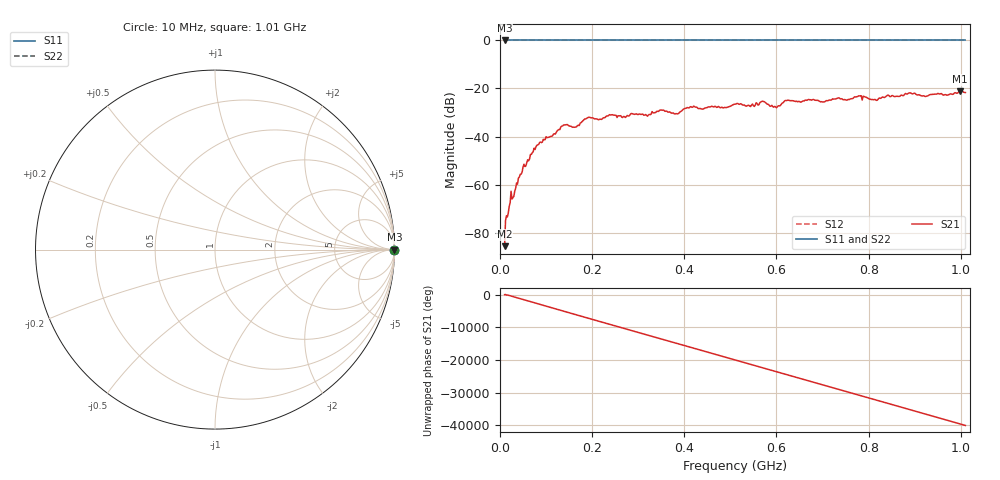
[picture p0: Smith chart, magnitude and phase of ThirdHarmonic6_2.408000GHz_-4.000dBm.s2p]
! 8/17/2025 4:01:05 AM
! C:\ANRITSUVNA\TEMP\TEMP.S2P
! CHANNEL.1
! TR.MEASUREMENT
! RAW.DATA
! RF.CORRECTION.OFF
! AVERAGING.OFF
! IF.BANDWIDTH: 5KHZ
! SWEEPTYPE:  FREQ.SWEEP(Linear)
! Reference Plane Port Info
! PORT:  PORT1  PORT2
! DISTANCE:  0  m  0  m
! TIME:  0  s  0  s
! PHASE.OFFSET:  0  deg.  0  deg.
! LOSS:  0  dB  0  dB
! REF.LOSS:  0  dB  0  dB
! REF.FREQ:  0  Hz  0  Hz
! Power Info
! POWER:  -20  dBm  -20  dBm
! EFF.POWER:  -20  dBm  -20  dBm
! SOURCE.ATTEN:  0  dB  0  dB
! TEST.ATTEN:  0  dB  0  dB
# GHZ S RI R 50.0
! FREQ.GHZ  S11RE  S11IM  S21RE  S21IM  S12RE  S12IM  S22RE  S22IM
!; PortSelection: Port_12
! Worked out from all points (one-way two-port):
!   501 points, 10 MHz to 1.01 GHz, reference 50 ohm
!   highest |S21| = -21.14 dB at 998 MHz (marker M1); lowest = -85.7 dB at 10 MHz (marker M2)
!   lowest |S11| = 0.0 dB at 10 MHz (marker M3)
!   |S11| at or under -10 dB: nowhere
!   |S22| runs from 0.0 to 0.0 dB; largest |S21 - S12| = 1.1
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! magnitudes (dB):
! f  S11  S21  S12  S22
! 10 MHz  0.0  -85.7  0.0  0.0
! 22 MHz  0.0  -67.6  0.0  0.0
! 40 MHz  0.0  -57.3  0.0  0.0
! 78 MHz  0.0  -44.3  0.0  0.0
! 136 MHz  0.0  -35.6  0.0  0.0
! 162 MHz  0.0  -36.2  0.0  0.0
! 178 MHz  0.0  -33.8  0.0  0.0
! 192 MHz  0.0  -32.0  0.0  0.0
! 322 MHz  0.0  -31.1  0.0  0.0
! 344 MHz  0.0  -29.6  0.0  0.0
! 382 MHz  0.0  -30.5  0.0  0.0
! 416 MHz  0.0  -27.8  0.0  0.0
! 510 MHz  0.0  -26.6  0.0  0.0
! 570 MHz  0.0  -25.3  0.0  0.0
! 598 MHz  0.0  -27.6  0.0  0.0
! 622 MHz  0.0  -25.0  0.0  0.0
! 678 MHz  0.0  -24.7  0.0  0.0
! 780 MHz  0.0  -23.1  0.0  0.0
! 816 MHz  0.0  -24.9  0.0  0.0
! 844 MHz  0.0  -23.0  0.0  0.0
! 998 MHz  0.0  -21.1  0.0  0.0
! 1.01 GHz  0.0  -21.7  0.0  0.0
